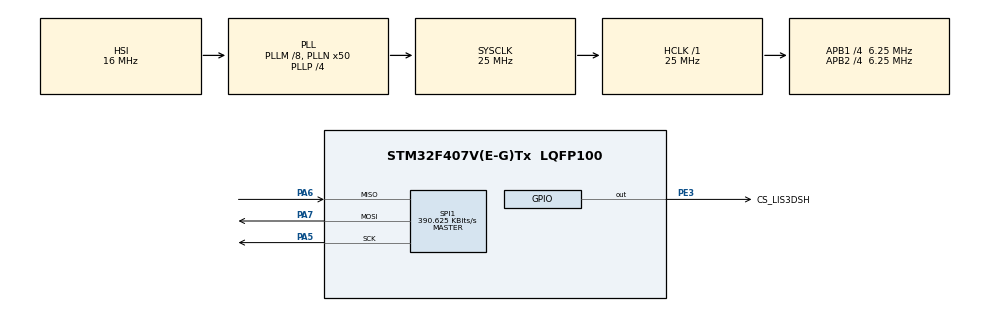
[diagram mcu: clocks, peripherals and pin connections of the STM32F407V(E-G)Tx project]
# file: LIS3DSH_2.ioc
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Mcu.Family=STM32F4
PA6.Mode=Full_Duplex_Master
RCC.CortexFreq_Value=25000000
PA7.Mode=Full_Duplex_Master
SPI1.VirtualType=VM_MASTER
RCC.APB1CLKDivider=RCC_HCLK_DIV4
RCC.SYSCLKSource=RCC_SYSCLKSOURCE_PLLCLK
ProjectManager.StackSize=0x400
ProjectManager.TargetToolchain=STM32CubeIDE
SPI1.Direction=SPI_DIRECTION_2LINES
RCC.HCLKFreq_Value=25000000
RCC.APB2TimFreq_Value=12500000
SPI1.CalculateBaudRate=390.625 KBits/s
RCC.LSE_VALUE=32768
RCC.AHBFreq_Value=25000000
PE3.PinState=GPIO_PIN_SET
PA5.Signal=SPI1_SCK
RCC.HSE_VALUE=8000000
board=STM32F407G-DISC1
RCC.VCOOutputFreq_Value=100000000
RCC.APB2Freq_Value=6250000
SPI1.Mode=SPI_MODE_MASTER
Mcu.Name=STM32F407V(E-G)Tx
RCC.48MHZClocksFreq_Value=14285714.285714285
RCC.SYSCLKFreq_VALUE=25000000
Mcu.Package=LQFP100
PA6.Signal=SPI1_MISO
ProjectManager.HeapSize=0x200
RCC.HSI_VALUE=16000000
RCC.PLLP=RCC_PLLP_DIV4
RCC.PLLQ=7
NVIC.PriorityGroup=NVIC_PRIORITYGROUP_0
RCC.APB2CLKDivider=RCC_HCLK_DIV4
RCC.PLLM=8
RCC.PLLN=50
RCC.APB1TimFreq_Value=12500000
PE3.Signal=GPIO_Output
PE3.GPIO_Label=CS_LIS3DSH
RCC.APB1Freq_Value=6250000
SPI1.BaudRatePrescaler=SPI_BAUDRATEPRESCALER_16
PA5.Mode=Full_Duplex_Master
PA7.Signal=SPI1_MOSI

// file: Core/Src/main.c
/* USER CODE BEGIN Header */
/**
  ******************************************************************************
  * @file           : main.c
  * @brief          : Main program body
  ******************************************************************************
  * @attention
  *
  * <h2><center>&copy; Copyright (c) 2021 STMicroelectronics.
  * All rights reserved.</center></h2>
  *
  * This software component is licensed by ST under Ultimate Liberty license
  * SLA0044, the "License"; You may not use this file except in compliance with
  * the License. You may obtain a copy of the License at:
  *                             www.st.com/SLA0044
  *
  ******************************************************************************
  */
/* USER CODE END Header */
#include "main.h"

/* USER CODE BEGIN PM */

//function returning a pointer to the address in the alias region (SRAM) mapping a bit in the bit-band region
//using the formulas from STM32F4 programming manual:
//bit_word_offset = (byte_offset x 32) + (bit_number x 4)
//bit_word_addr = bit_band_base + bit_word_offset

#define SRAM_alias(address, bit) (uint32_t *) ((SRAM_BB_BASE + (((uint32_t)address) - PERIPH_BASE) * 32 + (bit) * 4))

/* USER CODE END PM */

SPI_HandleTypeDef hspi1;

void SystemClock_Config(void);
static void MX_GPIO_Init(void);
static void MX_SPI1_Init(void);

/* USER CODE BEGIN 0 */

uint8_t INFO1[2],INFO2[2],WHO_AM_I[2];  		 //arrays to store the values read from the LIS3DSH registers
uint8_t tx_INFO1[2],tx_INFO2[2],tx_WHO_AM_I[2];  //arrays to store the addresses of LIS3DSH registers

/* USER CODE END 0 */

int main(void)
{

  /* MCU Configuration--------------------------------------------------------*/

  /* Reset of all peripherals, Initializes the Flash interface and the Systick. */
  HAL_Init();

  /* Configure the system clock */
  SystemClock_Config();

  /* Initialize all configured peripherals */
  MX_GPIO_Init();
  MX_SPI1_Init();
  /* USER CODE BEGIN 2 */

  //store in the first byte of the 3 arrays the address of the LIS3DSH registers to be indexed, setting the MSB to 1 to enable the READ mode
  tx_INFO1[0]=0x0D|0x80;
  tx_INFO2[0]=0x0E|0x80;
  tx_WHO_AM_I[0]=0x0F|0x80;

  //READ FROM INFO1
  HAL_GPIO_WritePin(GPIOE,GPIO_PIN_3,GPIO_PIN_RESET);	  //set PE3 (connected to Chip Select of LIS3DSH) to 0 to activate the slave and start the transmission

  HAL_SPI_Transmit(&hspi1,tx_INFO1,1,50); 				//address the register INFO1 in read mode
  HAL_SPI_Receive(&hspi1,INFO1,1,50);					//read the byte saved in the register INFO1 and save it as first element of the array INFO1

  HAL_GPIO_WritePin(GPIOE,GPIO_PIN_3,GPIO_PIN_SET);		//set PE3 to 1 to deactivate the slave and stop the transmission

  //READ FROM INFO2
  HAL_GPIO_WritePin(GPIOE,GPIO_PIN_3,GPIO_PIN_RESET);	  //set PE3 to 0 to activate the slave and start the transmission

  HAL_SPI_Transmit(&hspi1,tx_INFO2,1,50); 				//address the register INFO2 in read mode
  HAL_SPI_Receive(&hspi1,INFO2,1,50);					//read the byte saved in the register INFO2 and save it as first element of the array INFO2

  HAL_GPIO_WritePin(GPIOE,GPIO_PIN_3,GPIO_PIN_SET);		//set PE3 to 1 to deactivate the slave and stop the transmission

  //READ FROM WHO_AM_I
  HAL_GPIO_WritePin(GPIOE,GPIO_PIN_3,GPIO_PIN_RESET);	  //set PE3 to 0 to activate the slave and start the transmission

  HAL_SPI_Transmit(&hspi1,tx_WHO_AM_I,1,50); 			//address the register WHO_AM_I in read mode
  HAL_SPI_Receive(&hspi1,WHO_AM_I,1,50);				//read the byte saved in the register WHO_AM_I and save it as first element of the array WHO_AM_I

  HAL_GPIO_WritePin(GPIOE,GPIO_PIN_3,GPIO_PIN_SET);		//set PE3 to 1 to deactivate the slave and stop the transmission

  //optional task (usa la regione di bit-banding in modo da indirizzare ogni campo del registro con un indirizzo)

  uint32_t * reg_bit = SRAM_alias(&INFO1,0);    //create a pointer to the first bit of INFO1 in the alias region of the SRAM

  *reg_bit=0; 									//write 0 to the word in the alias region mapping the first bit (of first element) of INFO1 in the bit-band region. This sets to 0 the bit in the bit-band region
  *reg_bit=1;									//write 1

  /* USER CODE END 2 */

  /* Infinite loop */
  while (1)
  {

  }
}

void SystemClock_Config(void)
{
  RCC_OscInitTypeDef RCC_OscInitStruct = {0};
  RCC_ClkInitTypeDef RCC_ClkInitStruct = {0};

  /** Configure the main internal regulator output voltage
  */
  __HAL_RCC_PWR_CLK_ENABLE();
  __HAL_PWR_VOLTAGESCALING_CONFIG(PWR_REGULATOR_VOLTAGE_SCALE1);
  /** Initializes the RCC Oscillators according to the specified parameters
  * in the RCC_OscInitTypeDef structure.
  */
  RCC_OscInitStruct.OscillatorType = RCC_OSCILLATORTYPE_HSI;
  RCC_OscInitStruct.HSIState = RCC_HSI_ON;
  RCC_OscInitStruct.HSICalibrationValue = RCC_HSICALIBRATION_DEFAULT;
  RCC_OscInitStruct.PLL.PLLState = RCC_PLL_ON;
  RCC_OscInitStruct.PLL.PLLSource = RCC_PLLSOURCE_HSI;
  RCC_OscInitStruct.PLL.PLLM = 8;
  RCC_OscInitStruct.PLL.PLLN = 50;
  RCC_OscInitStruct.PLL.PLLP = RCC_PLLP_DIV4;
  RCC_OscInitStruct.PLL.PLLQ = 7;
  if (HAL_RCC_OscConfig(&RCC_OscInitStruct) != HAL_OK)
  {
    Error_Handler();
  }
  /** Initializes the CPU, AHB and APB buses clocks
  */
  RCC_ClkInitStruct.ClockType = RCC_CLOCKTYPE_HCLK|RCC_CLOCKTYPE_SYSCLK
                              |RCC_CLOCKTYPE_PCLK1|RCC_CLOCKTYPE_PCLK2;
  RCC_ClkInitStruct.SYSCLKSource = RCC_SYSCLKSOURCE_PLLCLK;
  RCC_ClkInitStruct.AHBCLKDivider = RCC_SYSCLK_DIV1;
  RCC_ClkInitStruct.APB1CLKDivider = RCC_HCLK_DIV4;
  RCC_ClkInitStruct.APB2CLKDivider = RCC_HCLK_DIV4;

  if (HAL_RCC_ClockConfig(&RCC_ClkInitStruct, FLASH_LATENCY_0) != HAL_OK)
  {
    Error_Handler();
  }
}

static void MX_SPI1_Init(void)
{

  /* SPI1 parameter configuration*/
  hspi1.Instance = SPI1;
  hspi1.Init.Mode = SPI_MODE_MASTER;
  hspi1.Init.Direction = SPI_DIRECTION_2LINES;
  hspi1.Init.DataSize = SPI_DATASIZE_8BIT;
  hspi1.Init.CLKPolarity = SPI_POLARITY_LOW;
  hspi1.Init.CLKPhase = SPI_PHASE_1EDGE;
  hspi1.Init.NSS = SPI_NSS_SOFT;
  hspi1.Init.BaudRatePrescaler = SPI_BAUDRATEPRESCALER_16;
  hspi1.Init.FirstBit = SPI_FIRSTBIT_MSB;
  hspi1.Init.TIMode = SPI_TIMODE_DISABLE;
  hspi1.Init.CRCCalculation = SPI_CRCCALCULATION_DISABLE;
  hspi1.Init.CRCPolynomial = 10;
  if (HAL_SPI_Init(&hspi1) != HAL_OK)
  {
    Error_Handler();
  }

}

static void MX_GPIO_Init(void)
{
  GPIO_InitTypeDef GPIO_InitStruct = {0};

  /* GPIO Ports Clock Enable */
  __HAL_RCC_GPIOE_CLK_ENABLE();
  __HAL_RCC_GPIOA_CLK_ENABLE();

  /*Configure GPIO pin Output Level */
  HAL_GPIO_WritePin(CS_LIS3DSH_GPIO_Port, CS_LIS3DSH_Pin, GPIO_PIN_SET);

  /*Configure GPIO pin : CS_LIS3DSH_Pin */
  GPIO_InitStruct.Pin = CS_LIS3DSH_Pin;
  GPIO_InitStruct.Mode = GPIO_MODE_OUTPUT_PP;
  GPIO_InitStruct.Pull = GPIO_NOPULL;
  GPIO_InitStruct.Speed = GPIO_SPEED_FREQ_LOW;
  HAL_GPIO_Init(CS_LIS3DSH_GPIO_Port, &GPIO_InitStruct);

}

void Error_Handler(void)
{
  __disable_irq();
  while (1)
  {
  }
}

/************************ (C) COPYRIGHT STMicroelectronics *****END OF FILE****/
